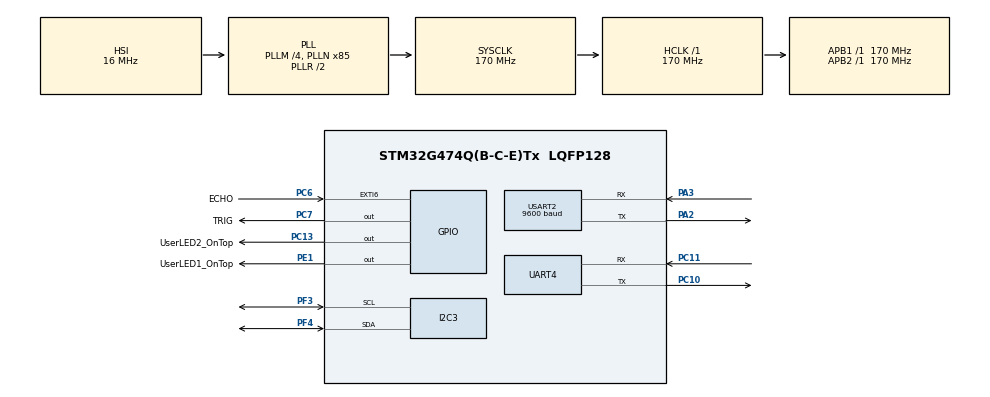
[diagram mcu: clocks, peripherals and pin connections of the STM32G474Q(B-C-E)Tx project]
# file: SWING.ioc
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Dma.Request0=UART4_RX
Dma.Request1=UART4_TX
Dma.UART4_RX.0.Direction=DMA_PERIPH_TO_MEMORY
Dma.UART4_RX.0.EventEnable=DISABLE
Dma.UART4_RX.0.Instance=DMA1_Channel1
Dma.UART4_RX.0.MemDataAlignment=DMA_MDATAALIGN_BYTE
Dma.UART4_RX.0.MemInc=DMA_MINC_ENABLE
Dma.UART4_RX.0.Mode=DMA_CIRCULAR
Dma.UART4_RX.0.PeriphDataAlignment=DMA_PDATAALIGN_BYTE
Dma.UART4_RX.0.PeriphInc=DMA_PINC_DISABLE
Dma.UART4_RX.0.Polarity=HAL_DMAMUX_REQ_GEN_RISING
Dma.UART4_RX.0.Priority=DMA_PRIORITY_LOW
Dma.UART4_RX.0.RequestNumber=1
Dma.UART4_RX.0.SignalID=NONE
Dma.UART4_RX.0.SyncEnable=DISABLE
Dma.UART4_RX.0.SyncPolarity=HAL_DMAMUX_SYNC_NO_EVENT
Dma.UART4_RX.0.SyncRequestNumber=1
Dma.UART4_RX.0.SyncSignalID=NONE
Dma.UART4_TX.1.Direction=DMA_MEMORY_TO_PERIPH
Dma.UART4_TX.1.EventEnable=DISABLE
Dma.UART4_TX.1.Instance=DMA1_Channel2
Dma.UART4_TX.1.MemDataAlignment=DMA_MDATAALIGN_BYTE
Dma.UART4_TX.1.MemInc=DMA_MINC_ENABLE
Dma.UART4_TX.1.Mode=DMA_NORMAL
Dma.UART4_TX.1.PeriphDataAlignment=DMA_PDATAALIGN_BYTE
Dma.UART4_TX.1.PeriphInc=DMA_PINC_DISABLE
Dma.UART4_TX.1.Polarity=HAL_DMAMUX_REQ_GEN_RISING
Dma.UART4_TX.1.Priority=DMA_PRIORITY_LOW
Dma.UART4_TX.1.RequestNumber=1
Dma.UART4_TX.1.SignalID=NONE
Dma.UART4_TX.1.SyncEnable=DISABLE
Dma.UART4_TX.1.SyncPolarity=HAL_DMAMUX_SYNC_NO_EVENT
Dma.UART4_TX.1.SyncRequestNumber=1
Dma.UART4_TX.1.SyncSignalID=NONE
I2C3.Timing=0x40B285C2
Mcu.Family=STM32G4
Mcu.Name=STM32G474Q(B-C-E)Tx
Mcu.Package=LQFP128
NVIC.DMA1_Channel1_IRQn=true\:0\:0\:false\:false\:true\:false\:true\:true
NVIC.DMA1_Channel2_IRQn=true\:0\:0\:false\:false\:true\:false\:true\:true
NVIC.EXTI9_5_IRQn=true\:0\:0\:false\:false\:true\:true\:true\:true
NVIC.I2C3_EV_IRQn=true\:0\:0\:false\:false\:true\:true\:true\:true
NVIC.PriorityGroup=NVIC_PRIORITYGROUP_4
NVIC.TIM2_IRQn=true\:0\:0\:false\:false\:true\:true\:true\:true
NVIC.TIM4_IRQn=true\:0\:0\:false\:false\:true\:true\:true\:true
NVIC.UART4_IRQn=true\:0\:0\:false\:false\:true\:true\:true\:true
PA13.Mode=Serial_Wire
PA13.Signal=SYS_JTMS-SWDIO
PA14.Mode=Serial_Wire
PA14.Signal=SYS_JTCK-SWCLK
PA2.Mode=Asynchronous
PA2.Signal=USART2_TX
PA3.Mode=Asynchronous
PA3.Signal=USART2_RX
PC10.Mode=Asynchronous
PC10.Signal=UART4_TX
PC11.Mode=Asynchronous
PC11.Signal=UART4_RX
PC13.GPIO_Label=UserLED2_OnTop
PC13.Signal=GPIO_Output
PC6.GPIO_Label=ECHO
PC6.Signal=GPXTI6
PC7.GPIO_Label=TRIG
PC7.Signal=GPIO_Output
PE1.GPIO_Label=UserLED1_OnTop
PE1.Signal=GPIO_Output
PF0-OSC_IN.Mode=HSE-External-Oscillator
PF0-OSC_IN.Signal=RCC_OSC_IN
PF1-OSC_OUT.Mode=HSE-External-Oscillator
PF1-OSC_OUT.Signal=RCC_OSC_OUT
PF3.GPIO_Pu=GPIO_NOPULL
PF3.Mode=I2C
PF3.Signal=I2C3_SCL
PF4.GPIO_Pu=GPIO_NOPULL
PF4.Mode=I2C
PF4.Signal=I2C3_SDA
ProjectManager.HeapSize=0x200
ProjectManager.StackSize=0x400
ProjectManager.TargetToolchain=MDK-ARM V5.32
RCC.ADC12Freq_Value=170000000
RCC.ADC345Freq_Value=170000000
RCC.AHBFreq_Value=170000000
RCC.APB1Freq_Value=170000000
RCC.APB1TimFreq_Value=170000000
RCC.APB2Freq_Value=170000000
RCC.APB2TimFreq_Value=170000000
RCC.CortexFreq_Value=170000000
RCC.EXTERNAL_CLOCK_VALUE=12288000
RCC.HCLKFreq_Value=170000000
RCC.HSE_VALUE=8000000
RCC.HSI48_VALUE=48000000
RCC.HSI_VALUE=16000000
RCC.LSE_VALUE=32768
RCC.PLLM=RCC_PLLM_DIV4
RCC.PLLN=85
RCC.SYSCLKFreq_VALUE=170000000
RCC.SYSCLKSource=RCC_SYSCLKSOURCE_PLLCLK
RCC.USBFreq_Value=170000000
RCC.VCOOutputFreq_Value=340000000
TIM15.Prescaler=170-1
TIM2.PeriodNoDither=1000-1
TIM2.Prescaler=170-1
TIM4.PeriodNoDither=1000-1
TIM4.Prescaler=170-1
USART2.BaudRate=9600
USART2.VirtualMode-Asynchronous=VM_ASYNC
VP_SYS_VS_DBSignals.Mode=DisableDeadBatterySignals
VP_TIM15_VS_ClockSourceINT.Mode=Internal
VP_TIM2_VS_ClockSourceINT.Mode=Internal
VP_TIM4_VS_ClockSourceINT.Mode=Internal
board=custom

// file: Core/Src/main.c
/* USER CODE BEGIN Header */
/**
 ******************************************************************************
 * @file           : main.c
 * @brief          : Main program body
 ******************************************************************************
 * @attention
 *
 * Copyright (c) 2025 STMicroelectronics.
 * All rights reserved.
 *
 * This software is licensed under terms that can be found in the LICENSE file
 * in the root directory of this software component.
 * If no LICENSE file comes with this software, it is provided AS-IS.
 *
 ******************************************************************************
 */
/* USER CODE END Header */
#include "main.h"
#include "dma.h"
#include "i2c.h"
#include "tim.h"
#include "usart.h"
#include "gpio.h"

/* USER CODE BEGIN Includes */
#include "jy901.h"
#include "delay.h"
#include "usart.h"
#include "stdio.h"
#include "string.h"
#include "JY901S_REG.h"
#include "math.h"
#include "stdlib.h"
#include "math_tool.h"
#include "Laser-L1.h"
#include "Laser-L1_DMA.h"
/* USER CODE END Includes */

/* USER CODE BEGIN PD */
#define COUNT_THRESHOLD 30//易拉罐计数-波谷计数阈值（计数突变点）
/* USER CODE END PD */

/* USER CODE BEGIN PV */
extern int distance; // 距离mm

uint8_t count = 0; // 易拉罐计数
uint32_t Laser_Distance = 0; // 易拉罐到板子距离(实时更新)
uint32_t Last_Laser_Distance = 0; // 上次激光测距值
/* USER CODE END PV */

void SystemClock_Config(void);

int main(void)
{

    /* MCU Configuration--------------------------------------------------------*/

    /* Reset of all peripherals, Initializes the Flash interface and the Systick. */
    HAL_Init();

    /* Configure the system clock */
    SystemClock_Config();

    /* Initialize all configured peripherals */
    MX_GPIO_Init();
    MX_DMA_Init();
    MX_I2C3_Init();
    MX_TIM2_Init();
    MX_USART2_UART_Init();
    MX_TIM4_Init();
    MX_TIM15_Init();
    MX_UART4_Init();
    /* USER CODE BEGIN 2 */
    int last_GyroData = 0;
    Uart_printf(&huart2, "开机启动\r\n");
    Laser_Init(OnceMeasureMode); // 激光测距初始化
    delay_us(1000);              // 延时1ms

    // 第一次激光测距
    Laser_Distance = Laser_GetDistance(); // 获取激光测距值

    /* USER CODE END 2 */

    /* Infinite loop */
    /* USER CODE BEGIN WHILE */
    while (1)
    {
        // 激光测距
        Last_Laser_Distance = Laser_Distance; // 保存上次激光测距值
        Laser_Distance = Laser_GetDistance(); // 获取激光测距值
        if (Last_Laser_Distance - COUNT_THRESHOLD > Laser_Distance)
        {
            count++; // 易拉罐计数
        }

        jy901_dire_read();
        //        // y轴角度为0附近判断为最低点
        if (AngleData.y_Pitch < 83 && AngleData.z_Yaw > 81)
        {
            // 点亮LED
            HAL_GPIO_TogglePin(UserLED1_OnTop_GPIO_Port, UserLED1_OnTop_Pin); // 点亮LED
            Uart_printf(&huart2, "distance\r\n");
            delay_us(10); // 延迟消抖
        }
        else
        {
            // 关闭LED
            HAL_GPIO_WritePin(UserLED1_OnTop_GPIO_Port, UserLED1_OnTop_Pin, GPIO_PIN_RESET); // 关闭LED
        }

        // y轴角速度正负变换判断为到最高点
        if (GyroData.z > 0 && last_GyroData < 0)
        {
            // 点亮LED
            HAL_GPIO_TogglePin(UserLED2_OnTop_GPIO_Port, UserLED2_OnTop_Pin); // 点亮LED
            Uart_printf(&huart2, "T\r\n");
            delay_us(10); // 延迟消抖
        }
        else if (GyroData.z < 0 && last_GyroData > 0)
        {
            // 点亮LED
            HAL_GPIO_TogglePin(UserLED2_OnTop_GPIO_Port, UserLED2_OnTop_Pin); // 点亮LED
            Uart_printf(&huart2, "T\r\n");
            delay_us(10); // 延迟消抖
        }
        else
        {
            // 关闭LED
            HAL_GPIO_WritePin(UserLED2_OnTop_GPIO_Port, UserLED2_OnTop_Pin, GPIO_PIN_RESET); // 关闭LED
        }
        last_GyroData = GyroData.z;

        // if (GyroData.z < 10 && GyroData.z > -10)
        // {
        //     // 点亮LED
        //     HAL_GPIO_WritePin(UserLED2_OnTop_GPIO_Port, UserLED2_OnTop_Pin, SET); // 点亮LED
        //     Uart_printf(&huart2, "HIGH\r\n");
        //     HAL_Delay(10); // 延迟消抖
        // }
        // else
        // {
        //     // 关闭LED
        //     HAL_GPIO_WritePin(UserLED2_OnTop_GPIO_Port, UserLED2_OnTop_Pin, RESET); // 关闭LED
        //     Uart_printf(&huart2, "Gyr:%f\r\n", GyroData.z);
        // }

        // y轴角速度正负变换判断为到最高点

        /* USER CODE END WHILE */

    }
}

void SystemClock_Config(void)
{
    RCC_OscInitTypeDef RCC_OscInitStruct = {0};
    RCC_ClkInitTypeDef RCC_ClkInitStruct = {0};

    /** Configure the main internal regulator output voltage
     */
    HAL_PWREx_ControlVoltageScaling(PWR_REGULATOR_VOLTAGE_SCALE1_BOOST);

    /** Initializes the RCC Oscillators according to the specified parameters
     * in the RCC_OscInitTypeDef structure.
     */
    RCC_OscInitStruct.OscillatorType = RCC_OSCILLATORTYPE_HSI;
    RCC_OscInitStruct.HSIState = RCC_HSI_ON;
    RCC_OscInitStruct.HSICalibrationValue = RCC_HSICALIBRATION_DEFAULT;
    RCC_OscInitStruct.PLL.PLLState = RCC_PLL_ON;
    RCC_OscInitStruct.PLL.PLLSource = RCC_PLLSOURCE_HSI;
    RCC_OscInitStruct.PLL.PLLM = RCC_PLLM_DIV4;
    RCC_OscInitStruct.PLL.PLLN = 85;
    RCC_OscInitStruct.PLL.PLLP = RCC_PLLP_DIV2;
    RCC_OscInitStruct.PLL.PLLQ = RCC_PLLQ_DIV2;
    RCC_OscInitStruct.PLL.PLLR = RCC_PLLR_DIV2;
    if (HAL_RCC_OscConfig(&RCC_OscInitStruct) != HAL_OK)
    {
        Error_Handler();
    }

    /** Initializes the CPU, AHB and APB buses clocks
     */
    RCC_ClkInitStruct.ClockType = RCC_CLOCKTYPE_HCLK | RCC_CLOCKTYPE_SYSCLK | RCC_CLOCKTYPE_PCLK1 | RCC_CLOCKTYPE_PCLK2;
    RCC_ClkInitStruct.SYSCLKSource = RCC_SYSCLKSOURCE_PLLCLK;
    RCC_ClkInitStruct.AHBCLKDivider = RCC_SYSCLK_DIV1;
    RCC_ClkInitStruct.APB1CLKDivider = RCC_HCLK_DIV1;
    RCC_ClkInitStruct.APB2CLKDivider = RCC_HCLK_DIV1;

    if (HAL_RCC_ClockConfig(&RCC_ClkInitStruct, FLASH_LATENCY_4) != HAL_OK)
    {
        Error_Handler();
    }
}

void Error_Handler(void)
{
    __disable_irq();
    while (1)
    {
    }
}
